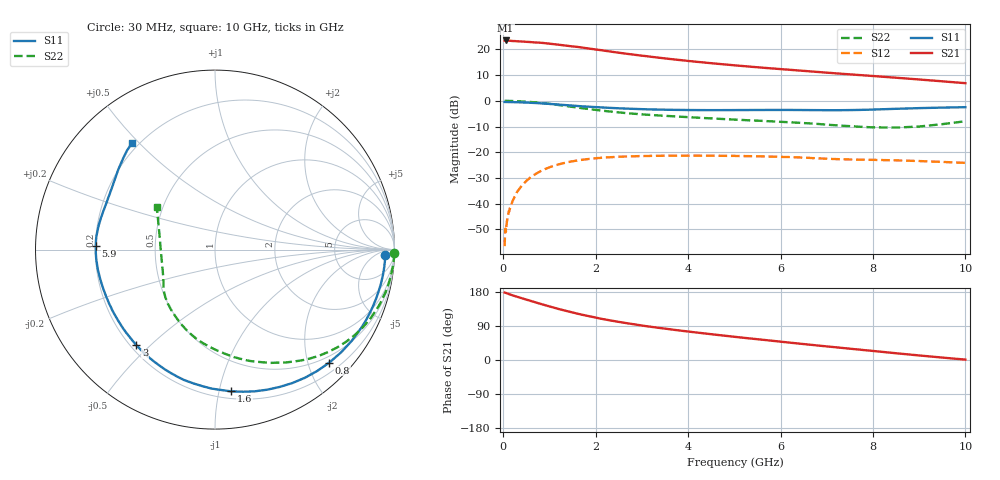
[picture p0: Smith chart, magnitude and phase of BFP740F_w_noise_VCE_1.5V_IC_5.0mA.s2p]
! Infineon Technologies  Discrete & RF Semiconductors
! BFP740F
! VCE =  1.5 V,  IC =  5.0 mA
! Common Emitter S-Parameters:  Oct 2012
# GHz  S  MA  R  50
!  f  S11  S21  S12  S22
! GHz  MAG  ANG  MAG  ANG  MAG  ANG  MAG  ANG
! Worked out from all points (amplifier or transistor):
!   99 points, 30 MHz to 10 GHz, reference 50 ohm
!   highest |S21| = 23.5 dB at 50 MHz (marker M1)
!   |S21| within 3 dB of that: start of sweep to 1.797 GHz
!   unconditionally stable (mu >= 1): 7.622 GHz to end of sweep
!   at 350 MHz: K = 0.03, MSG = 28.7 dB, |S12| = -34.2 dB
!   at 3.5 GHz: K = 0.33, MSG = 18.9 dB, |S12| = -21.3 dB
!   at 10 GHz: K = 1.28, MAG = 12.3 dB, |S12| = -24.1 dB
!   lowest NFmin = 0.37 dB at 450 MHz
!   S11 on the Smith chart (normalised r, x): 30 MHz: 28, -17; 800 MHz: 0.37, -2.38; 1.6 GHz: 0.25, -1.09; 3 GHz: 0.22, -0.45; 5.9 GHz: 0.20, +0.01; 10 GHz: 0.17, +0.48
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0.03  0.9494 -1.8  14.74 178.0  0.0015 86.6  0.9983 -1.2
0.05  0.9496 -2.9  14.89 177.3  0.0033 74.6  0.9986 -2.1
0.06  0.9481 -3.5  14.86 176.9  0.0029 88.7  0.9978 -2.4
0.14  0.9466 -8.1  14.64 173.4  0.0082 85.8  0.9947 -5.7
0.35  0.9348 -20.0  14.3 164.9  0.0195 78.3  0.9793 -14.1
0.6  0.9156 -33.8  13.83 155.7  0.033 69.4  0.9472 -23.8
0.8  0.8954 -44.7  13.48 148.4  0.0426 62.9  0.9135 -31.3
1  0.8721 -55.0  12.91 141.4  0.0511 56.5  0.8726 -38.6
1.2  0.8455 -64.9  12.3 134.6  0.0583 50.5  0.828 -45.6
1.6  0.7949 -83.5  11.17 122.4  0.0692 40.2  0.7415 -58.0
1.7  0.7824 -87.7  10.87 119.6  0.0713 37.9  0.7199 -61.0
2.1  0.7471 -103.2  9.684 109.3  0.0779 29.3  0.6501 -72.6
2.3  0.7302 -109.8  9.132 104.8  0.0801 25.7  0.6207 -77.6
2.7  0.704 -121.6  8.151 96.6  0.0831 19.6  0.5733 -86.4
3  0.6895 -129.5  7.537 91.1  0.0845 15.5  0.5457 -92.4
3.4  0.6749 -139.0  6.831 84.3  0.0855 11.0  0.5174 -99.3
4.1  0.6623 -153.0  5.842 73.7  0.0861 4.1  0.4764 -109.2
5.1  0.662 -170.2  4.816 59.9  0.0846 -4.0  0.427 -122.2
5.9  0.6647 178.4  4.203 49.7  0.082 -9.5  0.3956 -132.3
6.7  0.66 166.0  3.699 39.6  0.0771 -14.2  0.36 -142.5
8.5  0.6998 140.3  2.81 17.8  0.0697 -18.4  0.302 -178.8
10  0.7524 127.8  2.202 1.0  0.0623 -21.6  0.4012 143.9
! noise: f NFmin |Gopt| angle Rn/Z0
0.45  0.37  0.38  7  0.2
0.9  0.42  0.38  14  0.17
1.5  0.5  0.37  24  0.14
1.9  0.55  0.35  33  0.14
2.4  0.61  0.33  42  0.13
3.5  0.76  0.31  65  0.12
5.5  1.02  0.2  113  0.15
10  1.55  0.42  -127  0.08
